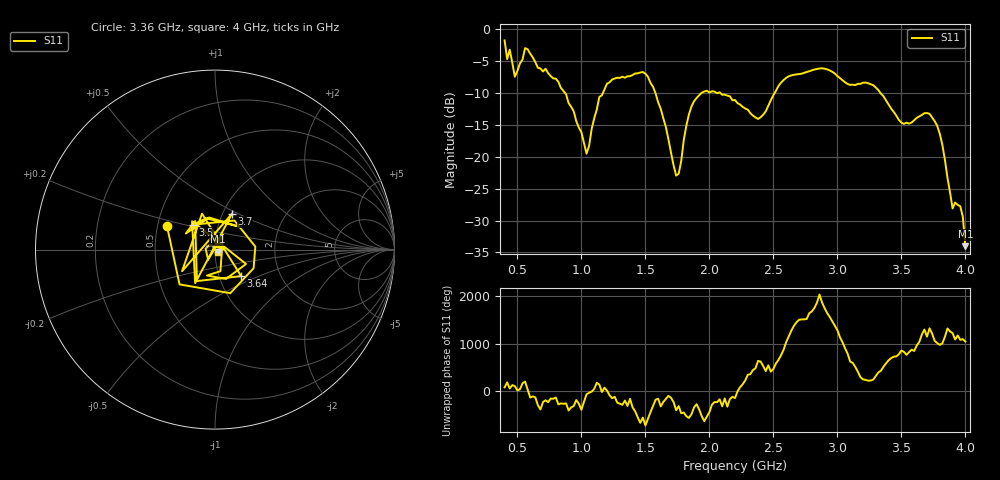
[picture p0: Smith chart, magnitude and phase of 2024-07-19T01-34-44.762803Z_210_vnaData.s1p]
!Created with skrf (http://scikit-rf.org).
# Hz S RI R 50.0
!freq ReS11 ImS11
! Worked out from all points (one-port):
!   181 points, 400 MHz to 4 GHz, reference 50 ohm
!   lowest |S11| = -34.0 dB at 4 GHz (marker M1), VSWR 1.04, Z = 51.6 - j1.27 ohm
!   |S11| at or under -10 dB: 1.579 GHz to 1.938 GHz (359 MHz wide, 20.4 % of centre); 2.086 GHz to 2.51 GHz (423.8 MHz wide, 18.4 % of centre); 3.337 GHz to end of sweep (the widest 3 of 5)
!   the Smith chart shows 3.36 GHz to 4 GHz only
!   S11 on the Smith chart (normalised r, x): 3.36 GHz: 0.56, +0.16; 3.5 GHz: 0.75, +0.22; 3.64 GHz: 1.27, -0.39; 3.7 GHz: 1.11, +0.46; 4 GHz: 1.03, -0.03
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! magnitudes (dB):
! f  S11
! 400 MHz  -1.8
! 480 MHz  -7.4
! 560 MHz  -3.0
! 860 MHz  -9.7
! 1.04 GHz  -19.5
! 1.14 GHz  -10.6
! 1.3 GHz  -7.6
! 1.52 GHz  -7.5
! 1.62 GHz  -12.5
! 1.74 GHz  -22.9
! 1.76 GHz  -22.7
! 1.82 GHz  -15.1
! 1.88 GHz  -11.3
! 1.98 GHz  -9.6
! 2.2 GHz  -11.1
! 2.38 GHz  -14.1
! 2.66 GHz  -7.1
! 2.88 GHz  -6.1
! 3.1 GHz  -8.7
! 3.36 GHz  -10.5
! 3.5 GHz  -14.6
! 3.56 GHz  -14.8
! 3.64 GHz  -13.7
! 3.7 GHz  -13.1
! 3.8 GHz  -16.4
! 3.9 GHz  -28.1
! 3.96 GHz  -27.7
! 4 GHz  -34.0
